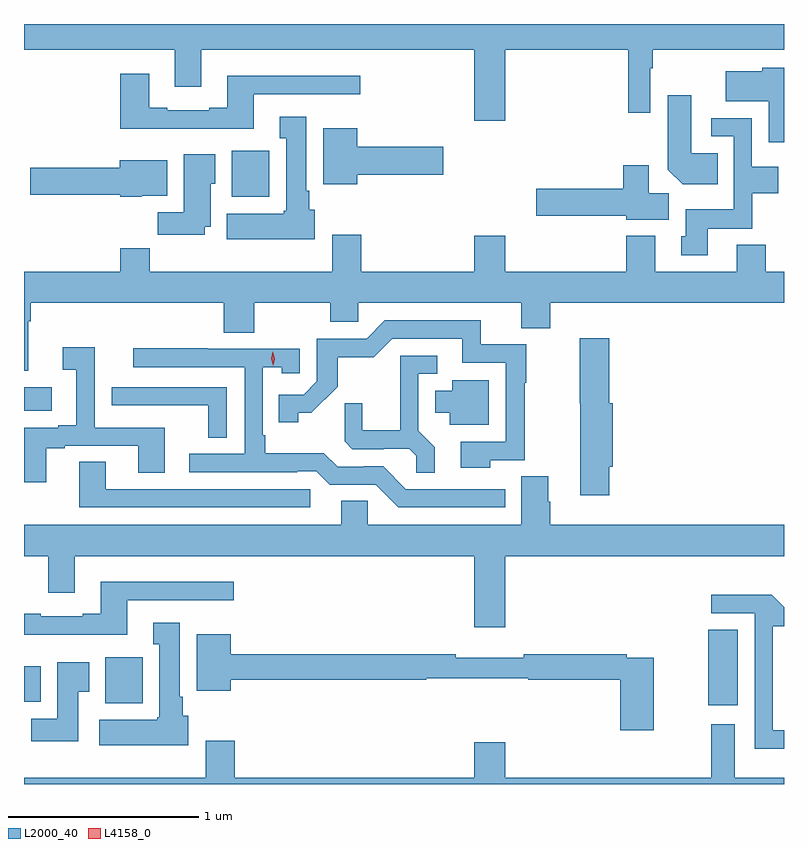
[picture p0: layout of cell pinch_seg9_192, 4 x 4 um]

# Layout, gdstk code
import gdstk
lib = gdstk.Library(unit=1e-6, precision=1e-09)
def R(c, l, rs):  # rectangles x0, y0, x1, y1
    for r in rs: c.add(gdstk.rectangle(r[:2], r[2:], *l))
def P(c, l, *ps):  # polygons
    for p in ps: c.add(gdstk.Polygon(p, *l))
L2000_40 = (2000, 40)
L4158_0 = (4158, 0)

pinch_seg9_192 = lib.new_cell('pinch_seg9_192')
R(pinch_seg9_192, L2000_40, [(537.868,1227.603,538.024,1228.001), (534.695,1227.614,534.892,1227.856), (534.267,1227.62,534.355,1227.808), (534.267,1229.153,534.412,1229.277), (535.361,1230.278,535.558,1230.52)])
P(pinch_seg9_192, L2000_40, [(536.8,1231.052),(537.448,1231.052),(537.448,1230.72),(537.564,1230.72),(537.564,1230.956),(537.577,1230.956),(537.577,1231.052),(538.267,1231.052),(538.267,1231.188),(534.267,1231.188),(534.267,1231.052),(535.061,1231.052),(535.061,1230.858),(535.201,1230.858),(535.201,1231.052),(536.636,1231.052),(536.636,1230.678),(536.8,1230.678)],
  [(538.267,1230.958),(538.152,1230.958),(538.152,1230.94),(537.96,1230.94),(537.96,1230.782),(538.188,1230.782),(538.188,1230.566),(538.267,1230.566)],
  [(535.477,1230.819),(536.038,1230.819),(536.038,1230.916),(535.337,1230.916),(535.337,1230.748),(535.241,1230.748),(535.241,1230.735),(535.021,1230.735),(535.021,1230.748),(534.925,1230.748),(534.925,1230.925),(534.773,1230.925),(534.773,1230.638),(535.477,1230.638)],
  [(537.917,1230.508),(537.778,1230.508),(537.778,1230.814),(537.656,1230.814),(537.656,1230.422),(537.734,1230.344),(537.917,1230.344)],
  [(535.798,1230.21),(535.768,1230.21),(535.768,1230.31),(535.753,1230.31),(535.753,1230.7),(535.613,1230.7),(535.613,1230.587),(535.646,1230.587),(535.646,1230.204),(535.633,1230.204),(535.633,1230.19),(535.334,1230.19),(535.334,1230.056),(535.798,1230.056)],
  [(537.865,1230.11),(538.101,1230.11),(538.101,1230.296),(538.237,1230.296),(538.237,1230.436),(538.098,1230.436),(538.098,1230.693),(537.885,1230.693),(537.885,1230.597),(538.002,1230.597),(538.002,1230.214),(537.749,1230.214),(537.749,1230.072),(537.725,1230.072),(537.725,1229.97),(537.865,1229.97)],
  [(536.02,1230.395),(536.473,1230.395),(536.473,1230.542),(536.02,1230.542),(536.02,1230.64),(535.841,1230.64),(535.841,1230.344),(536.02,1230.344)],
  [(535.219,1230.122),(535.249,1230.122),(535.249,1230.348),(535.273,1230.348),(535.273,1230.502),(535.109,1230.502),(535.109,1230.196),(534.97,1230.196),(534.97,1230.078),(535.219,1230.078)],
  [(534.888,1230.284),(535.021,1230.284),(535.021,1230.472),(534.77,1230.472),(534.77,1230.431),(534.3,1230.431),(534.3,1230.289),(534.774,1230.289),(534.774,1230.278),(534.888,1230.278)],
  [(537.661,1230.296),(537.556,1230.296),(537.556,1230.445),(537.422,1230.445),(537.422,1230.32),(536.964,1230.32),(536.964,1230.178),(537.438,1230.178),(537.438,1230.158),(537.661,1230.158)],
  [(534.289,1229.624),(534.302,1229.624),(534.302,1229.72),(535.319,1229.72),(535.319,1229.563),(535.479,1229.563),(535.479,1229.72),(535.879,1229.72),(535.879,1229.622),(536.025,1229.622),(536.025,1229.72),(536.885,1229.72),(536.885,1229.587),(537.038,1229.587),(537.038,1229.72),(538.267,1229.72),(538.267,1229.884),(538.172,1229.884),(538.172,1230.025),(538.019,1230.025),(538.019,1229.884),(537.589,1229.884),(537.589,1230.073),(537.437,1230.073),(537.437,1229.884),(536.8,1229.884),(536.8,1230.073),(536.636,1230.073),(536.636,1229.884),(536.042,1229.884),(536.042,1230.079),(535.889,1230.079),(535.889,1229.884),(534.929,1229.884),(534.929,1230.008),(534.773,1230.008),(534.773,1229.884),(534.267,1229.884),(534.267,1229.364),(534.289,1229.364)],
  [(536.721,1228.893),(536.903,1228.893),(536.903,1229.299),(536.911,1229.299),(536.911,1229.502),(536.672,1229.502),(536.672,1229.628),(536.166,1229.628),(536.07,1229.532),(535.809,1229.532),(535.809,1229.307),(535.74,1229.238),(535.609,1229.238),(535.609,1229.091),(535.71,1229.091),(535.71,1229.141),(535.78,1229.141),(535.918,1229.278),(535.918,1229.434),(536.107,1229.434),(536.205,1229.532),(536.573,1229.532),(536.573,1229.406),(536.802,1229.406),(536.802,1228.989),(536.565,1228.989),(536.565,1228.853),(536.721,1228.853)],
  [(537.347,1228.857),(537.365,1228.857),(537.365,1229.193),(537.347,1229.193),(537.347,1229.533),(537.193,1229.533),(537.193,1229.193),(537.194,1229.193),(537.194,1228.707),(537.347,1228.707)],
  [(534.385,1228.956),(534.481,1228.956),(534.481,1228.968),(534.869,1228.968),(534.869,1228.825),(535.009,1228.825),(535.009,1229.064),(534.639,1229.064),(534.639,1229.488),(534.471,1229.488),(534.471,1229.368),(534.542,1229.368),(534.542,1229.077),(534.446,1229.077),(534.446,1229.064),(534.267,1229.064),(534.267,1228.776),(534.385,1228.776)],
  [(536.8,1228.74),(536.277,1228.74),(536.157,1228.86),(536.056,1228.86),(536.056,1228.857),(535.917,1228.857),(535.844,1228.93),(535.537,1228.93),(535.537,1229.023),(535.524,1229.023),(535.524,1229.381),(535.623,1229.381),(535.623,1229.349),(535.719,1229.349),(535.719,1229.478),(535.235,1229.478),(535.235,1229.481),(534.843,1229.481),(534.843,1229.382),(535.428,1229.382),(535.428,1228.926),(535.137,1228.926),(535.137,1228.83),(535.706,1228.83),(535.706,1228.833),(535.806,1228.833),(535.875,1228.764),(536.118,1228.764),(536.238,1228.644),(536.8,1228.644)],
  [(536.429,1228.961),(536.343,1229.047),(536.343,1229.346),(536.443,1229.346),(536.443,1229.442),(536.246,1229.442),(536.246,1229.05),(536.048,1229.05),(536.048,1229.193),(535.954,1229.193),(535.954,1228.991),(535.995,1228.95),(536.16,1228.95),(536.16,1228.953),(536.294,1228.953),(536.331,1228.916),(536.331,1228.825),(536.429,1228.825)],
  [(536.713,1229.314),(536.522,1229.314),(536.522,1229.257),(536.432,1229.257),(536.432,1229.141),(536.507,1229.141),(536.507,1229.078),(536.713,1229.078)],
  [(535.335,1229.277),(534.729,1229.277),(534.729,1229.182),(534.841,1229.182),(534.841,1229.181),(535.237,1229.181),(535.237,1229.011),(535.335,1229.011)],
  [(535.774,1228.74),(534.697,1228.74),(534.697,1228.883),(534.557,1228.883),(534.557,1228.644),(535.774,1228.644)],
  [(536.8,1228.388),(538.267,1228.388),(538.267,1228.552),(537.038,1228.552),(537.038,1228.674),(537.025,1228.674),(537.025,1228.808),(536.885,1228.808),(536.885,1228.552),(536.076,1228.552),(536.076,1228.679),(535.937,1228.679),(535.937,1228.552),(534.267,1228.552),(534.267,1228.388),(534.395,1228.388),(534.395,1228.194),(534.535,1228.194),(534.535,1228.388),(536.636,1228.388),(536.636,1228.014),(536.8,1228.014)],
  [(534.811,1228.155),(535.372,1228.155),(535.372,1228.252),(534.671,1228.252),(534.671,1228.084),(534.575,1228.084),(534.575,1228.071),(534.355,1228.071),(534.355,1228.084),(534.267,1228.084),(534.267,1227.974),(534.811,1227.974)],
  [(538.267,1227.471),(538.209,1227.471),(538.209,1228.017),(538.267,1228.017),(538.267,1228.118),(538.202,1228.184),(537.885,1228.184),(537.885,1228.086),(538.113,1228.086),(538.113,1227.374),(538.267,1227.374)],
  [(535.132,1227.546),(535.102,1227.546),(535.102,1227.646),(535.087,1227.646),(535.087,1228.036),(534.947,1228.036),(534.947,1227.923),(534.98,1227.923),(534.98,1227.54),(534.967,1227.54),(534.967,1227.526),(534.663,1227.526),(534.663,1227.392),(535.132,1227.392)],
  [(537.582,1227.852),(537.44,1227.852),(537.44,1227.872),(536.896,1227.872),(536.896,1227.853),(536.54,1227.853),(536.54,1227.872),(535.354,1227.872),(535.354,1227.976),(535.175,1227.976),(535.175,1227.68),(535.354,1227.68),(535.354,1227.736),(536.385,1227.736),(536.385,1227.744),(536.92,1227.744),(536.92,1227.736),(537.404,1227.736),(537.404,1227.471),(537.582,1227.471)],
  [(534.553,1227.673),(534.61,1227.673),(534.61,1227.829),(534.443,1227.829),(534.443,1227.532),(534.305,1227.532),(534.305,1227.414),(534.553,1227.414)],
  [(538.267,1227.22),(538.009,1227.22),(538.009,1227.502),(537.884,1227.502),(537.884,1227.22),(536.8,1227.22),(536.8,1227.409),(536.636,1227.409),(536.636,1227.22),(535.376,1227.22),(535.376,1227.415),(535.223,1227.415),(535.223,1227.22),(534.267,1227.22),(534.267,1227.188),(538.267,1227.188)])
P(pinch_seg9_192, L4158_0, [(535.579,1229.39),(535.578,1229.391),(535.567,1229.426),(535.576,1229.463),(535.576,1229.463),(535.576,1229.463),(535.587,1229.427),(535.579,1229.391)])

lib.write_gds('pinch_seg9_192.gds')
